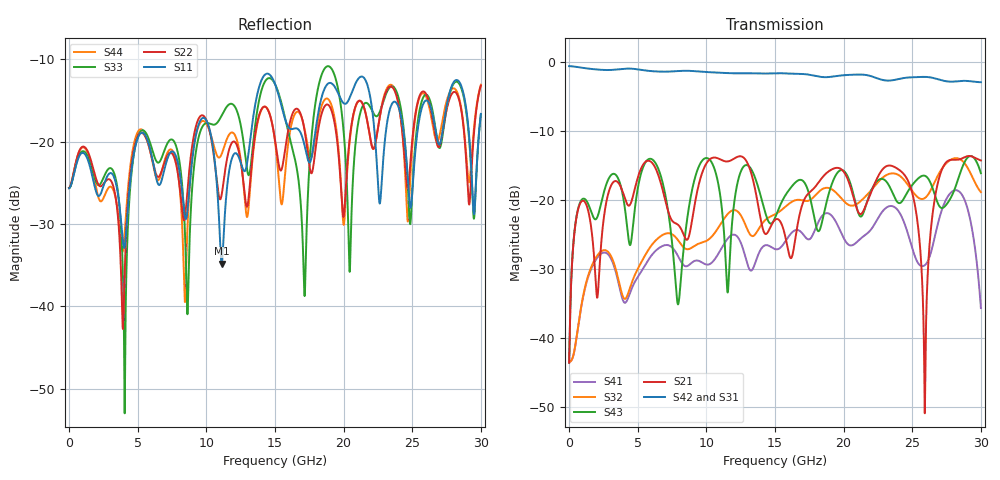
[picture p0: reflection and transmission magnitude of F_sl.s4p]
!diffpair-meanders F_sl (stripline: broad trombone next to the bend), mesh medium
!ports 1 P_near 2 N_near 3 P_far 4 N_far; openEMS FDTD, lumped 50 ohm ports
# Hz S RI R 50.0
! Port[1] = P_near
! Port[2] = N_near
! Port[3] = P_far
! Port[4] = N_far
!freq ReS11 ImS11 ReS12 ImS12 ReS13 ImS13
! ReS14 ImS14
! ReS21 ImS21 ReS22 ImS22 ReS23 ImS23
! ReS24 ImS24
! ReS31 ImS31 ReS32 ImS32 ReS33 ImS33
! ReS34 ImS34
! ReS41 ImS41 ReS42 ImS42 ReS43 ImS43
! ReS44 ImS44
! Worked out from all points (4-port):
!   3000 points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, 10 MHz to 30 GHz, reference 50 ohm
!   strongest paths, dB at 10 MHz, 7.51 GHz, 15.01 GHz, 22.51 GHz, 30 GHz:
!     S42: -0.6, -1.3, -1.6, -2.4, -2.9
!     S31: -0.6, -1.4, -1.7, -2.3, -2.5
!     S21: -43.6, -23.0, -22.9, -16.6, -14.3
!     S43: -43.6, -26.2, -22.6, -17.1, -16.1
!     S32: -43.5, -25.0, -22.1, -17.4, -18.8
!     S41: -43.5, -26.9, -27.1, -22.6, -35.7
!   lowest |S11| = -34.8 dB at 11.12 GHz (marker M1), VSWR 1.04, Z = 51.5 + j1.01 ohm
!   |S11| at or under -10 dB: start of sweep to end of sweep
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1e7  -0.0521 0.00193  0.00644 0.00148  0.9357 -0.0129  0.00668 -0.000314
     0.00644 0.00148  -0.0523 0.00205  0.00668 -0.000314  0.9353 -0.013
     0.9357 -0.0129  0.00669 -0.000314  -0.0521 0.00193  0.00645 0.00149
     0.00668 -0.000314  0.9353 -0.013  0.00645 0.00149  -0.0523 0.00205
2.23e9  0.0428 0.0193  0.015 0.0295  -0.875 -0.1159  0.0371 0.015
        0.015 0.0295  0.0529 0.00897  0.0387 0.0151  -0.8769 -0.0916
        -0.875 -0.1159  0.0387 0.0151  0.0513 0.0189  0.078 0.0344
        0.0371 0.015  -0.8769 -0.0916  0.078 0.0344  0.0434 0.00739
4.6e9  0.0207 0.0695  0.0921 0.0423  0.8994 0.087  -0.00967 -0.0211
       0.0921 0.0423  0.0122 0.0771  -0.0123 -0.0224  0.896 0.0245
       0.8994 0.0871  -0.0123 -0.0224  -0.00144 0.0699  -0.0468 0.0326
       -0.00969 -0.0211  0.8961 0.0245  -0.0468 0.0326  0.0256 0.0808
1.112e10  0.0153 0.00975  0.1844 0.0633  -0.5607 -0.6078  0.0401 0.02
          0.1844 0.0632  0.0347 0.0324  0.0576 0.0378  -0.6475 -0.5312
          -0.5615 -0.6077  0.0576 0.0377  0.1037 0.0996  0.0226 -0.0867
          0.0402 0.02  -0.6478 -0.5312  0.0226 -0.0866  0.0625 0.056
1.393e10  0.0771 0.2114  0.0486 -0.0579  0.8205 0.1405  -0.0231 -0.0364
          0.0485 -0.0579  0.0665 0.1359  -0.0526 -0.0372  0.8268 -0.00105
          0.8202 0.1414  -0.0525 -0.0373  -0.0411 0.1867  0.1016 -0.0429
          -0.0232 -0.0364  0.8267 -0.00108  0.1014 -0.0431  0.0719 0.131
1.623e10  0.1189 0.000248  0.0365 0.012  -0.7685 -0.2429  0.0548 -0.0185
          0.0366 0.012  0.0805 0.1191  0.0957 -0.0179  -0.8219 -0.072
          -0.7684 -0.2432  0.0954 -0.0179  0.0934 0.00171  0.1233 0.0227
          0.055 -0.0185  -0.8219 -0.0723  0.1236 0.0228  0.0496 0.12
3e10  -0.000795 0.1469  0.1713 -0.0892  -0.5906 -0.462  0.0147 -0.00711
      0.1716 -0.0899  0.0689 0.2073  0.1065 0.0423  -0.6842 -0.2119
      -0.5906 -0.4619  0.1061 0.0424  0.000705 0.147  0.0955 -0.1236
      0.0149 -0.0071  -0.6842 -0.2114  0.0955 -0.1241  0.0904 0.2017
